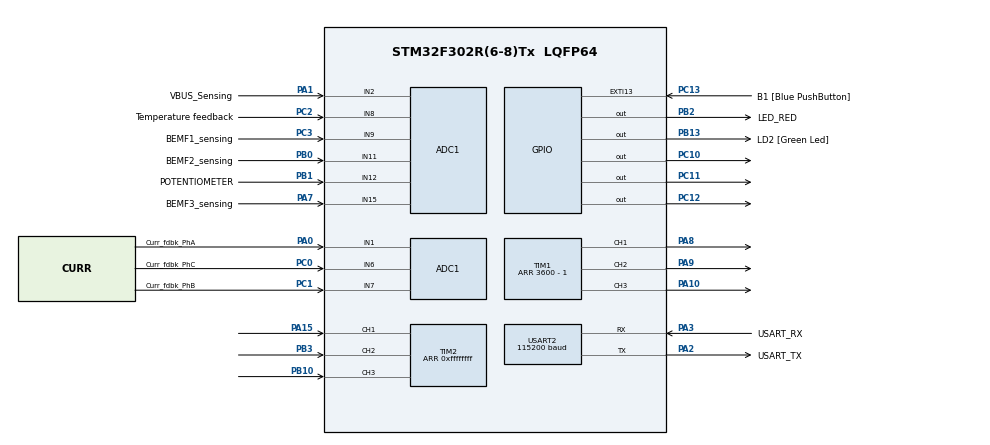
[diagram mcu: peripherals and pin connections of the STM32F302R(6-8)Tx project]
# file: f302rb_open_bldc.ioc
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ADC1.Channel-1\#ChannelRegularConversion=ADC_CHANNEL_VREFINT
ADC1.Channel-14\#ChannelRegularConversion=ADC_CHANNEL_TEMPSENSOR
ADC1.Channel-15\#ChannelRegularConversion=ADC_CHANNEL_2
ADC1.Channel-16\#ChannelRegularConversion=ADC_CHANNEL_8
ADC1.EnableAnalogWatchDog3=false
ADC1.ExternalTrigConv=ADC_EXTERNALTRIGCONV_T1_TRGO
ADC1.ExternalTrigInjecConv=ADC_EXTERNALTRIGINJECCONV_T1_TRGO
ADC1.InjNumberOfConversion=3
ADC1.InjectedChannel-11\#ChannelInjectedConversion=ADC_CHANNEL_1
ADC1.InjectedChannel-12\#ChannelInjectedConversion=ADC_CHANNEL_7
ADC1.InjectedChannel-13\#ChannelInjectedConversion=ADC_CHANNEL_6
ADC1.InjectedOffset-11\#ChannelInjectedConversion=0
ADC1.InjectedOffset-12\#ChannelInjectedConversion=0
ADC1.InjectedOffset-13\#ChannelInjectedConversion=0
ADC1.InjectedOffsetNumber-11\#ChannelInjectedConversion=ADC_OFFSET_NONE
ADC1.InjectedOffsetNumber-12\#ChannelInjectedConversion=ADC_OFFSET_NONE
ADC1.InjectedOffsetNumber-13\#ChannelInjectedConversion=ADC_OFFSET_NONE
ADC1.InjectedRank-11\#ChannelInjectedConversion=1
ADC1.InjectedRank-12\#ChannelInjectedConversion=2
ADC1.InjectedRank-13\#ChannelInjectedConversion=3
ADC1.InjectedSamplingTime-11\#ChannelInjectedConversion=ADC_SAMPLETIME_19CYCLES_5
ADC1.InjectedSamplingTime-12\#ChannelInjectedConversion=ADC_SAMPLETIME_19CYCLES_5
ADC1.InjectedSamplingTime-13\#ChannelInjectedConversion=ADC_SAMPLETIME_19CYCLES_5
ADC1.InjectedSamplingTimeOPAMP-11\#ChannelInjectedConversion=ADC_SAMPLETIME_61CYCLES_5
ADC1.InjectedSamplingTimeOPAMP-12\#ChannelInjectedConversion=ADC_SAMPLETIME_61CYCLES_5
ADC1.InjectedSamplingTimeOPAMP-13\#ChannelInjectedConversion=ADC_SAMPLETIME_61CYCLES_5
ADC1.NbrOfConversion=4
ADC1.NbrOfConversionFlag=1
ADC1.Offset-1\#ChannelRegularConversion=0
ADC1.Offset-14\#ChannelRegularConversion=0
ADC1.Offset-15\#ChannelRegularConversion=0
ADC1.Offset-16\#ChannelRegularConversion=0
ADC1.OffsetNumber-1\#ChannelRegularConversion=ADC_OFFSET_NONE
ADC1.OffsetNumber-14\#ChannelRegularConversion=ADC_OFFSET_NONE
ADC1.OffsetNumber-15\#ChannelRegularConversion=ADC_OFFSET_NONE
ADC1.OffsetNumber-16\#ChannelRegularConversion=ADC_OFFSET_NONE
ADC1.Rank-1\#ChannelRegularConversion=1
ADC1.Rank-14\#ChannelRegularConversion=2
ADC1.Rank-15\#ChannelRegularConversion=3
ADC1.Rank-16\#ChannelRegularConversion=4
ADC1.SamplingTime-1\#ChannelRegularConversion=ADC_SAMPLETIME_181CYCLES_5
ADC1.SamplingTime-14\#ChannelRegularConversion=ADC_SAMPLETIME_181CYCLES_5
ADC1.SamplingTime-15\#ChannelRegularConversion=ADC_SAMPLETIME_19CYCLES_5
ADC1.SamplingTime-16\#ChannelRegularConversion=ADC_SAMPLETIME_19CYCLES_5
ADC1.SequencerNbRanks=4
ADC1.SubFamily=STM32F302x8
ADC1.master=1
Dma.ADC1.0.Direction=DMA_PERIPH_TO_MEMORY
Dma.ADC1.0.Instance=DMA1_Channel1
Dma.ADC1.0.MemDataAlignment=DMA_MDATAALIGN_HALFWORD
Dma.ADC1.0.MemInc=DMA_MINC_ENABLE
Dma.ADC1.0.Mode=DMA_CIRCULAR
Dma.ADC1.0.PeriphDataAlignment=DMA_PDATAALIGN_HALFWORD
Dma.ADC1.0.PeriphInc=DMA_PINC_DISABLE
Dma.ADC1.0.Priority=DMA_PRIORITY_LOW
Dma.Request0=ADC1
Mcu.Family=STM32F3
Mcu.Name=STM32F302R(6-8)Tx
Mcu.Package=LQFP64
NVIC.DMA1_Channel1_IRQn=true\:0\:0\:false\:false\:true\:false\:true
NVIC.EXTI15_10_IRQn=true\:0\:0\:false\:false\:true\:true\:true
NVIC.PriorityGroup=NVIC_PRIORITYGROUP_0
NVIC.TIM1_UP_TIM16_IRQn=true\:0\:0\:false\:false\:true\:true\:true
NVIC.TIM2_IRQn=true\:0\:0\:false\:false\:true\:true\:true
NVIC.TIM6_DAC_IRQn=true\:0\:0\:false\:false\:true\:true\:true
PA0.GPIO_Label=Curr_fdbk_PhA
PA0.Mode=IN1-Single-Ended
PA0.Signal=ADC1_IN1
PA1.GPIO_Label=VBUS_Sensing
PA1.Mode=IN2-Single-Ended
PA1.Signal=ADC1_IN2
PA10.Signal=S_TIM1_CH3
PA13.GPIO_Label=TMS
PA13.Signal=SYS_JTMS-SWDIO
PA14.GPIO_Label=TCK
PA14.Signal=SYS_JTCK-SWCLK
PA15.Signal=S_TIM2_CH1_ETR
PA2.GPIO_Label=USART_TX
PA2.GPIO_Mode=GPIO_MODE_AF_PP
PA2.GPIO_PuPd=GPIO_NOPULL
PA2.GPIO_Speed=GPIO_SPEED_FREQ_LOW
PA2.Mode=Asynchronous
PA2.Signal=USART2_TX
PA3.GPIO_Label=USART_RX
PA3.GPIO_Mode=GPIO_MODE_AF_PP
PA3.GPIO_PuPd=GPIO_NOPULL
PA3.GPIO_Speed=GPIO_SPEED_FREQ_LOW
PA3.Mode=Asynchronous
PA3.Signal=USART2_RX
PA7.GPIO_Label=BEMF3_sensing
PA7.Mode=IN15-Single-Ended
PA7.Signal=ADC1_IN15
PA8.Signal=S_TIM1_CH1
PA9.Signal=S_TIM1_CH2
PB0.GPIO_Label=BEMF2_sensing
PB0.Mode=IN11-Single-Ended
PB0.Signal=ADC1_IN11
PB1.GPIO_Label=POTENTIOMETER
PB1.Mode=IN12-Single-Ended
PB1.Signal=ADC1_IN12
PB10.Signal=S_TIM2_CH3
PB13.GPIO_Label=LD2 [Green Led]
PB13.Signal=GPIO_Output
PB2.GPIO_Label=LED_RED
PB2.Signal=GPIO_Output
PB3.Signal=S_TIM2_CH2
PC0.GPIO_Label=Curr_fdbk_PhC
PC0.Signal=ADCx_IN6
PC1.GPIO_Label=Curr_fdbk_PhB
PC1.Signal=ADCx_IN7
PC10.Signal=GPIO_Output
PC11.Signal=GPIO_Output
PC12.Signal=GPIO_Output
PC13.GPIO_Label=B1 [Blue PushButton]
PC13.GPIO_ModeDefaultEXTI=GPIO_MODE_IT_FALLING
PC13.Signal=GPXTI13
PC14\ -\ OSC32_IN.Mode=LSE-External-Oscillator
PC14\ -\ OSC32_IN.Signal=RCC_OSC32_IN
PC15\ -\ OSC32_OUT.Mode=LSE-External-Oscillator
PC15\ -\ OSC32_OUT.Signal=RCC_OSC32_OUT
PC2.GPIO_Label=Temperature feedback
PC2.Signal=ADCx_IN8
PC3.GPIO_Label=BEMF1_sensing
PC3.Signal=ADCx_IN9
PF0-OSC_IN.Mode=HSE-External-Clock-Source
PF0-OSC_IN.Signal=RCC_OSC_IN
PF1-OSC_OUT.Signal=RCC_OSC_OUT
ProjectManager.HeapSize=0x200
ProjectManager.StackSize=0x400
ProjectManager.TargetToolchain=STM32CubeIDE
RCC.AHBFreq_Value=72000000
RCC.APB1CLKDivider=RCC_HCLK_DIV2
RCC.APB1Freq_Value=36000000
RCC.APB1TimFreq_Value=72000000
RCC.APB2Freq_Value=72000000
RCC.APB2TimFreq_Value=72000000
RCC.CortexFreq_Value=72000000
RCC.HCLKFreq_Value=72000000
RCC.HSE_VALUE=8000000
RCC.HSI_VALUE=8000000
RCC.PLLM=8
RCC.PLLMUL=RCC_PLL_MUL9
RCC.PLLN=336
RCC.PLLP=RCC_PLLP_DIV4
RCC.PLLQ=7
RCC.PLLSourceVirtual=RCC_PLLSOURCE_HSE
RCC.SYSCLKFreq_VALUE=72000000
RCC.SYSCLKSourceVirtual=RCC_SYSCLKSOURCE_PLLCLK
RCC.USBFreq_Value=72000000
SH.ADCx_IN6.0=ADC1_IN6,IN6-Single-Ended
SH.ADCx_IN7.0=ADC1_IN7,IN7-Single-Ended
SH.ADCx_IN8.0=ADC1_IN8,IN8-Single-Ended
SH.ADCx_IN9.0=ADC1_IN9,IN9-Single-Ended
SH.S_TIM1_CH1.0=TIM1_CH1,PWM Generation1 CH1
SH.S_TIM1_CH2.0=TIM1_CH2,PWM Generation2 CH2
SH.S_TIM1_CH3.0=TIM1_CH3,PWM Generation3 CH3
SH.S_TIM2_CH1_ETR.0=TIM2_CH1,Xored_Inputs_Hall_Sensor_Interface
SH.S_TIM2_CH2.0=TIM2_CH2,Xored_Inputs_Hall_Sensor_Interface
SH.S_TIM2_CH3.0=TIM2_CH3,Xored_Inputs_Hall_Sensor_Interface
TIM1.AutoReloadPreload=TIM_AUTORELOAD_PRELOAD_ENABLE
TIM1.Channel-PWM\ Generation1\ CH1=TIM_CHANNEL_1
TIM1.Channel-PWM\ Generation2\ CH2=TIM_CHANNEL_2
TIM1.Channel-PWM\ Generation3\ CH3=TIM_CHANNEL_3
TIM1.CounterMode=TIM_COUNTERMODE_CENTERALIGNED1
TIM1.Period=3600 - 1
TIM1.TIM_MasterOutputTrigger=TIM_TRGO_UPDATE
TIM2.Period=0xffffffff
TIM6.AutoReloadPreload=TIM_AUTORELOAD_PRELOAD_ENABLE
TIM6.Period=1000 - 1
TIM6.Prescaler=72 - 1
USART2.BaudRate=115200
USART2.VirtualMode-Asynchronous=VM_ASYNC
USART2.WordLength=WORDLENGTH_8B
VP_ADC1_TempSens_Input.Mode=IN-TempSens
VP_ADC1_Vref_Input.Mode=IN-Vrefint
VP_TIM1_VS_ClockSourceINT.Mode=Internal
VP_TIM6_VS_ClockSourceINT.Mode=Enable_Timer
board=NUCLEO-F302R8

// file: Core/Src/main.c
/* USER CODE BEGIN Header */
/**
 ******************************************************************************
 * @file           : main.c
 * @brief          : Main program body
 ******************************************************************************
 * @attention
 *
 * <h2><center>&copy; Copyright (c) 2021 STMicroelectronics.
 * All rights reserved.</center></h2>
 *
 * This software component is licensed by ST under BSD 3-Clause license,
 * the "License"; You may not use this file except in compliance with the
 * License. You may obtain a copy of the License at:
 *                        opensource.org/licenses/BSD-3-Clause
 *
 ******************************************************************************
 */
/* USER CODE END Header */
#include "main.h"

/* USER CODE BEGIN Includes */
#include <stdio.h>
#include "math.h"
#include "arm_math.h"
#include "svpwm.h"
/* USER CODE END Includes */

TIM_HandleTypeDef htim1;
TIM_HandleTypeDef htim2;
TIM_HandleTypeDef htim6;

UART_HandleTypeDef huart2;

void SystemClock_Config(void);
static void MX_GPIO_Init(void);
static void MX_DMA_Init(void);
static void MX_USART2_UART_Init(void);
static void MX_ADC1_Init(void);
static void MX_TIM1_Init(void);
static void MX_TIM2_Init(void);
static void MX_TIM6_Init(void);

/* USER CODE BEGIN 0 */

float sinePeriodFiltered = 0;
uint32_t hallCounter = 0;
uint8_t hallCounterChanged = 0;
float theta = 0.0f;  // in rad
float theta_hall = 0.0f;
float gfOmega = 0.0f;  // in rad/s/pi
q31_t gqwOmegaDt = 0;
q31_t gqwTheta = 0;		// electrical angle [-1, 1) is mapped to [-pi, pi) in radian or [-180, 180) in degrees
q31_t gqwThetaHall = 0;
uint8_t hall_pattern = 0x00;
//float theta_at_edge[] = { 0, 2.0 * M_PI / 3.0, M_PI / 3.0, -2.0 * M_PI / 3.0, -M_PI / 3.0, M_PI };
q31_t qwThetaAtEdge[] = { Q31(0.0), Q31(0.0), Q31(2 / 3.0), Q31(1 / 3.0), Q31(-2 / 3.0), Q31(-1 / 3.0), Q31(-1.0) };
uint8_t gaubHallPatternSector[] = {0, 0, 2, 1, 4, 5, 3};
int8_t gabHallDirectionTable[6][6] = {
		{0, 1, 0, 0, 0, -1},
		{-1, 0, 1, 0, 0, 0},
		{0, -1, 0, 1, 0, 0},
		{0, 0, -1, 0, 1, 0},
		{0, 0, 0, -1, 0, 1},
		{1, 0, 0, 0, -1, 0},
};
uint8_t gubHallPatternPrev = 0x00;
uint8_t gubHallPatternCurrent = 0x00;
float k_pll = 0.1;

float adv = M_PI;

#define ADC_CONVERTED_DATA_BUFFER_SIZE   ((uint32_t)   4)
uint16_t aADC1ConvertedData[ADC_CONVERTED_DATA_BUFFER_SIZE];

q31_t gaqwPhaseCurrent[3] = {0, 0, 0};
q31_t gaqwCurrentAB[2] = {0, 0};
q31_t gaqwCurrentDQ[2] = {0, 0};

uint16_t uhVDDA = 0;
uint16_t aAdcOffset[3] = {0,0,0};

char text[256];

/* Variable to report status of DMA transfer of ADC group regular conversions */
/*  0: DMA transfer is not completed                                          */
/*  1: DMA transfer is completed                                              */
/*  2: DMA transfer has not been started yet (initial state)                  */
volatile uint8_t ubAdc1DmaTransferCplt = 0; /* Variable set into DMA interruption callback */

//void HAL_GPIO_EXTI_Callback(uint16_t GPIO_Pin)
//{
//	if(GPIO_Pin == GPIO_PIN_15) { // Hall A
//		if(GPIOA->IDR & GPIO_IDR_15 != GPIO_PIN_RESET){
//			// Pseudo-Sector 0
//			uint32_t now = HAL_GetTick();
//			sinePeriodFiltered = 1.0f / (now - counterU);
//		}
//	}
//}

void prints(const char * const str){
	HAL_UART_Transmit(&huart2, str, strlen(str), 10);
}

uint16_t ADC_Self_Cal_Channel(uint32_t channel) {
	const uint16_t ubPowNbConvSelfCal = 8;
	uint16_t ubConvIdx = 0;
	uint32_t uwAdcAccum = 0;

//	// configure channel
    LL_ADC_REG_SetSequencerLength(ADC1, LL_ADC_REG_SEQ_SCAN_DISABLE);
    LL_ADC_REG_SetSequencerRanks(ADC1, LL_ADC_REG_RANK_1, channel);
    LL_ADC_SetChannelSamplingTime(ADC1, channel, LL_ADC_SAMPLINGTIME_601CYCLES_5);

	ubAdc1DmaTransferCplt = 0;
	for(ubConvIdx = 0; ubConvIdx < (1u << ubPowNbConvSelfCal); ubConvIdx++)
	{
		LL_ADC_REG_StartConversion(ADC1);
		while(ubAdc1DmaTransferCplt == 0) ;
		ubAdc1DmaTransferCplt = 0;
		uwAdcAccum += aADC1ConvertedData[0];
	}
	return uwAdcAccum >> ubPowNbConvSelfCal;
}

void ADC_Self_Cal(void) {
	// disable ADC first to configure
	if(LL_ADC_IsEnabled(ADC1)) {
		LL_ADC_Disable(ADC1);
		while(LL_ADC_IsEnabled(ADC1) != 0) ;
	}

	// configure ADC
    LL_ADC_SetCommonClock(__LL_ADC_COMMON_INSTANCE(ADC1), LL_ADC_CLOCK_SYNC_PCLK_DIV4);
    LL_ADC_SetCommonPathInternalCh(__LL_ADC_COMMON_INSTANCE(ADC1), LL_ADC_PATH_INTERNAL_VREFINT);

	LL_ADC_SetDataAlignment(ADC1, LL_ADC_DATA_ALIGN_RIGHT);			// this line requires ADC disabled
    //LL_ADC_SetResolution(ADC1, LL_ADC_RESOLUTION_12B);
    //LL_ADC_SetLowPowerMode(ADC1, LL_ADC_LP_MODE_NONE);

    LL_ADC_REG_SetTriggerSource(ADC1, LL_ADC_REG_TRIG_SOFTWARE);
    LL_ADC_REG_SetContinuousMode(ADC1, LL_ADC_REG_CONV_SINGLE);
    LL_ADC_REG_SetDMATransfer(ADC1, LL_ADC_REG_DMA_TRANSFER_UNLIMITED);
    LL_ADC_REG_SetOverrun(ADC1, LL_ADC_REG_OVR_DATA_OVERWRITTEN);

    // configure DMA
	LL_DMA_ConfigAddresses(DMA1, LL_DMA_CHANNEL_1,
			LL_ADC_DMA_GetRegAddr(ADC1, LL_ADC_DMA_REG_REGULAR_DATA),
			(uint32_t) &aADC1ConvertedData, LL_DMA_DIRECTION_PERIPH_TO_MEMORY);
	LL_DMA_SetDataLength(DMA1, LL_DMA_CHANNEL_1, 1);
	LL_DMA_EnableIT_TC(DMA1, LL_DMA_CHANNEL_1);
	LL_DMA_EnableIT_TE(DMA1, LL_DMA_CHANNEL_1);
	LL_DMA_EnableChannel(DMA1, LL_DMA_CHANNEL_1);

	LL_ADC_StartCalibration(ADC1, LL_ADC_SINGLE_ENDED);
	while (LL_ADC_IsCalibrationOnGoing(ADC1) != 0)
		; // wait for calibration completion

	LL_ADC_Enable(ADC1);
	while (LL_ADC_IsActiveFlag_ADRDY(ADC1) == 0)
		; // wait until adc is ready

	HAL_Delay(100);

	// Calibrate VDDA
	uhVDDA = __LL_ADC_CALC_VREFANALOG_VOLTAGE(ADC_Self_Cal_Channel(LL_ADC_CHANNEL_VREFINT), LL_ADC_RESOLUTION_12B);
	//uhVDDA = __LL_ADC_CALC_DATA_TO_VOLTAGE(3300, ADC_Self_Cal_Channel(LL_ADC_CHANNEL_VREFINT), LL_ADC_RESOLUTION_12B);
	//uhVDDA = ADC_Self_Cal_Channel(LL_ADC_CHANNEL_VREFINT);

	// Calibrate I_u
    aAdcOffset[0] = ADC_Self_Cal_Channel(LL_ADC_CHANNEL_1);

	// Calibrate I_u
    aAdcOffset[1] = ADC_Self_Cal_Channel(LL_ADC_CHANNEL_7);

	// Calibrate I_u
    aAdcOffset[2] = ADC_Self_Cal_Channel(LL_ADC_CHANNEL_6);
}

void Configure_ADC_Normal(void) {
	// disable ADC first to configure
	if(LL_ADC_IsEnabled(ADC1)) {
		LL_ADC_Disable(ADC1);
		while(LL_ADC_IsEnabled(ADC1) != 0) ;
	}

    LL_ADC_SetCommonClock(__LL_ADC_COMMON_INSTANCE(ADC1), LL_ADC_CLOCK_SYNC_PCLK_DIV1);
	LL_ADC_SetDataAlignment(ADC1, LL_ADC_DATA_ALIGN_LEFT);
    LL_ADC_SetOffset(ADC1, LL_ADC_OFFSET_1, LL_ADC_CHANNEL_1, aAdcOffset[0]);
    LL_ADC_SetOffset(ADC1, LL_ADC_OFFSET_2, LL_ADC_CHANNEL_7, aAdcOffset[1]);
    LL_ADC_SetOffset(ADC1, LL_ADC_OFFSET_3, LL_ADC_CHANNEL_6, aAdcOffset[2]);

    LL_ADC_REG_SetTriggerSource(ADC1, LL_ADC_REG_TRIG_EXT_TIM6_TRGO);
    LL_ADC_REG_SetContinuousMode(ADC1, LL_ADC_REG_CONV_SINGLE);
    LL_ADC_REG_SetDMATransfer(ADC1, LL_ADC_REG_DMA_TRANSFER_UNLIMITED);
    LL_ADC_REG_SetOverrun(ADC1, LL_ADC_REG_OVR_DATA_OVERWRITTEN);

    // configure DMA
	LL_DMA_DisableChannel(DMA1, LL_DMA_CHANNEL_1);
	LL_DMA_ConfigAddresses(DMA1, LL_DMA_CHANNEL_1,
			LL_ADC_DMA_GetRegAddr(ADC1, LL_ADC_DMA_REG_REGULAR_DATA),
			(uint32_t) &aADC1ConvertedData, LL_DMA_DIRECTION_PERIPH_TO_MEMORY);
	LL_DMA_SetDataLength(DMA1, LL_DMA_CHANNEL_1, ADC_CONVERTED_DATA_BUFFER_SIZE);
	LL_DMA_EnableIT_TC(DMA1, LL_DMA_CHANNEL_1);
	LL_DMA_EnableIT_TE(DMA1, LL_DMA_CHANNEL_1);
	LL_DMA_EnableChannel(DMA1, LL_DMA_CHANNEL_1);

	// Enable ADC
	LL_ADC_StartCalibration(ADC1, LL_ADC_SINGLE_ENDED);
	while (LL_ADC_IsCalibrationOnGoing(ADC1) != 0)
		; // wait for calibration completion

	LL_ADC_Enable(ADC1);
	while (LL_ADC_IsActiveFlag_ADRDY(ADC1) == 0)
		; // wait until adc is ready

    LL_ADC_REG_SetSequencerLength(ADC1, LL_ADC_REG_SEQ_SCAN_ENABLE_4RANKS);

    LL_ADC_REG_SetSequencerRanks(ADC1, LL_ADC_REG_RANK_1, LL_ADC_CHANNEL_TEMPSENSOR);
    LL_ADC_REG_SetSequencerRanks(ADC1, LL_ADC_REG_RANK_2, LL_ADC_CHANNEL_8);
    LL_ADC_REG_SetSequencerRanks(ADC1, LL_ADC_REG_RANK_3, LL_ADC_CHANNEL_2);
    LL_ADC_REG_SetSequencerRanks(ADC1, LL_ADC_REG_RANK_4, LL_ADC_CHANNEL_12);

    LL_ADC_SetChannelSamplingTime(ADC1, LL_ADC_CHANNEL_TEMPSENSOR, LL_ADC_SAMPLINGTIME_181CYCLES_5);
    LL_ADC_SetChannelSamplingTime(ADC1, LL_ADC_CHANNEL_8, LL_ADC_SAMPLINGTIME_19CYCLES_5);
    LL_ADC_SetChannelSamplingTime(ADC1, LL_ADC_CHANNEL_2, LL_ADC_SAMPLINGTIME_19CYCLES_5);
    LL_ADC_SetChannelSamplingTime(ADC1, LL_ADC_CHANNEL_12, LL_ADC_SAMPLINGTIME_181CYCLES_5);

    // for injected channels
    LL_ADC_SetChannelSamplingTime(ADC1, LL_ADC_CHANNEL_1, LL_ADC_SAMPLINGTIME_181CYCLES_5);
    LL_ADC_SetChannelSamplingTime(ADC1, LL_ADC_CHANNEL_7, LL_ADC_SAMPLINGTIME_19CYCLES_5);
    LL_ADC_SetChannelSamplingTime(ADC1, LL_ADC_CHANNEL_6, LL_ADC_SAMPLINGTIME_19CYCLES_5);
}

void Configure_DAC(void)
{
	/*## Configuration of GPIO used by DAC channels ############################*/

	/* Enable GPIO Clock */
	LL_AHB1_GRP1_EnableClock(LL_AHB1_GRP1_PERIPH_GPIOA);

	/* Configure GPIO in analog mode to be used as DAC output */
	LL_GPIO_SetPinMode(GPIOA, LL_GPIO_PIN_4, LL_GPIO_MODE_ANALOG);

	/*## Configuration of DAC ##################################################*/

	/* Enable DAC clock */
	LL_APB1_GRP1_EnableClock(LL_APB1_GRP1_PERIPH_DAC1);

	/* Select trigger source */
	LL_DAC_SetTriggerSource(DAC1, LL_DAC_CHANNEL_1, LL_DAC_TRIG_SOFTWARE);

	/* Set the output for the selected DAC channel */
	LL_DAC_SetOutputBuffer(DAC1, LL_DAC_CHANNEL_1, LL_DAC_OUTPUT_BUFFER_ENABLE);

	/* Disable DAC channel DMA request */
	LL_DAC_DisableDMAReq(DAC1, LL_DAC_CHANNEL_1);

	/* Set the data to be loaded in the data holding register */
	LL_DAC_ConvertData12RightAligned(DAC1, LL_DAC_CHANNEL_1, 0x000);

	/* Enable interruption DAC channel1 underrun */
	//LL_DAC_EnableIT_DMAUDR1(DAC1);
}

void Activate_DAC(void)
{
  __IO uint32_t wait_loop_index = 0;

  /* Enable DAC channel */
  LL_DAC_Enable(DAC1, LL_DAC_CHANNEL_1);

  /* Delay for DAC channel voltage settling time from DAC channel startup.    */
  /* Compute number of CPU cycles to wait for, from delay in us.              */
  /* Note: Variable divided by 2 to compensate partially                      */
  /*       CPU processing cycles (depends on compilation optimization).       */
  /* Note: If system core clock frequency is below 200kHz, wait time          */
  /*       is only a few CPU processing cycles.                               */
  wait_loop_index = ((LL_DAC_DELAY_STARTUP_VOLTAGE_SETTLING_US * (SystemCoreClock / (100000 * 2))) / 10);
  while(wait_loop_index != 0)
  {
    wait_loop_index--;
  }
}

void HAL_TIM_IC_CaptureCallback(TIM_HandleTypeDef *htim) {
	if (htim->Instance == TIM2) {
		hallCounter = TIM2->CCR1;
		hallCounterChanged = 1;
		gubHallPatternPrev = gubHallPatternCurrent;
		hall_pattern = ((GPIOA->IDR & GPIO_IDR_15) >> 13)
				| ((GPIOB->IDR & GPIO_IDR_3) >> 2)
				| ((GPIOB->IDR & GPIO_IDR_10) >> 10);
		gubHallPatternCurrent = gaubHallPatternSector[hall_pattern];
		gfOmega = 1.0f / (3 * hallCounter);
		float fOmegaDt = 1e-3 / 3.0f * 72e6 / hallCounter;

		gfOmega *= gabHallDirectionTable[gubHallPatternPrev][gubHallPatternCurrent];
		fOmegaDt *= gabHallDirectionTable[gubHallPatternPrev][gubHallPatternCurrent];

		arm_float_to_q31(&fOmegaDt, &gqwOmegaDt, 1);
		gqwThetaHall = qwThetaAtEdge[hall_pattern];
		//gqwTheta = gqwThetaHall;
	}
}

void HAL_TIM_PeriodElapsedCallback(TIM_HandleTypeDef *htim) {
	if (htim->Instance == TIM1) {
		// do nothing
	} else if (htim->Instance == TIM6) {
		GPIOB->BSRR = GPIO_BSRR_BS_2;
		//q31_t qwOmegaDt = 0;
		//float fOmegaDt = omega / M_PI * 1e-3;
		//arm_float_to_q31(&fOmegaDt, &qwOmegaDt, 1);
		//gqwTheta += gqwOmegaDt;
		//LL_DAC_ConvertData12RightAligned(DAC1, LL_DAC_CHANNEL_1, (gqwTheta >> 20) ^ 0x800);
		//q31_t qwThetaRT = gqwThetaHall + Q31(gfOmega * TIM2->CNT);
		gqwTheta += Q31(0.03f);
		q31_t qwThetaRT = gqwTheta;
		//LL_DAC_ConvertData12RightAligned(DAC1, LL_DAC_CHANNEL_1, (qwThetaRT >> 20) ^ 0x800);

		q31_t qwAdv =  Q31(0.7);
		q31_t qwSines[3];
		q31_t dummy;

		arm_sin_cos_q31(qwThetaRT + qwAdv, &qwSines[0], &dummy);
		arm_sin_cos_q31(qwThetaRT + Q31(2.0f / 3.0f) + qwAdv, &qwSines[1], &dummy);
		arm_sin_cos_q31(qwThetaRT - Q31(2.0f / 3.0f) + qwAdv, &qwSines[2], &dummy);

		//UVW uvw;
		//SVPWM_Calc(gqwTheta, Q31(0.4f), &uvw);

		//LL_DAC_ConvertData12RightAligned(DAC1, LL_DAC_CHANNEL_1, (qwSines[0] >> 20) ^ 0x800);
		//LL_DAC_ConvertData12RightAligned(DAC1, LL_DAC_CHANNEL_1, (uvw.V >> 20) ^ 0x800);

		if (HAL_GPIO_ReadPin(GPIOC, GPIO_PIN_13) != GPIO_PIN_RESET) {
	//			TIM1->CCR1 = 1800.0 * sin(theta + adv);
	//			TIM1->CCR2 = 1800.0 * sin(theta + 2.0 * M_PI / 3.0 + adv);
	//			TIM1->CCR3 = 1800.0 * sin(theta - 2.0 * M_PI / 3.0 + adv);
			TIM1->CCR1 = 500.0 + (int32_t)qwSines[0] * (100.0/0x80000000);
			TIM1->CCR2 = 500.0 + (int32_t)qwSines[1] * (100.0/0x80000000);
			TIM1->CCR3 = 500.0 + (int32_t)qwSines[2] * (100.0/0x80000000);
			//TIM1->CCR1 = (int32_t)(uvw.U) * (1000.0/0x80000000);
			//TIM1->CCR2 = (int32_t)(uvw.V) * (1000.0/0x80000000);
			//TIM1->CCR3 = (int32_t)(uvw.W) * (1000.0/0x80000000);
		}
		GPIOB->BSRR = GPIO_BSRR_BR_2;
	}
}

void Adc1DmaTransferComplete_Callback(void) {
	ubAdc1DmaTransferCplt = 1;
}

void Adc1InjConvComplete_Callback(void) {
//	qwPhaseCurrent[0] = (uint32_t)(ADC1->JDR1) << 16;
//	qwPhaseCurrent[1] = ADC1->JDR2 << 16;
//	qwPhaseCurrent[2] = ADC1->JDR3 << 16;

	gaqwPhaseCurrent[0] = ADC1->JDR1 << 16;
	gaqwPhaseCurrent[1] = ADC1->JDR2 << 16;
	//LL_DAC_ConvertData12RightAligned(DAC1, LL_DAC_CHANNEL_1, ((int32_t)(gaqwPhaseCurrent[0]) >> 20) ^ 0x800);

	//q31_t qwThetaRT = gqwThetaHall + Q31(gfOmega * TIM2->CNT);

	q31_t qwSin, qwCos;
	arm_sin_cos_q31(gqwTheta, &qwSin, &qwCos);
	arm_clarke_q31(gaqwPhaseCurrent[0], gaqwPhaseCurrent[1], &gaqwCurrentAB[0], &gaqwCurrentAB[1]);
	arm_park_q31(gaqwCurrentAB[1], gaqwCurrentAB[0], &gaqwCurrentDQ[0], &gaqwCurrentDQ[1], qwSin, qwCos);

	//LL_DAC_ConvertData12RightAligned(DAC1, LL_DAC_CHANNEL_1, ((int32_t)(gaqwCurrentAB[1]) >> 20) ^ 0x800);
	LL_DAC_ConvertData12RightAligned(DAC1, LL_DAC_CHANNEL_1, ((int32_t)(gaqwCurrentDQ[1]) >> 20) ^ 0x800);
}

/* USER CODE END 0 */

int main(void) {

	/* MCU Configuration--------------------------------------------------------*/

	/* Reset of all peripherals, Initializes the Flash interface and the Systick. */
	HAL_Init();

	/* Configure the system clock */
	SystemClock_Config();

	/* Initialize all configured peripherals */
	MX_GPIO_Init();
	MX_DMA_Init();
	MX_USART2_UART_Init();
	MX_ADC1_Init();
	MX_TIM1_Init();
	MX_TIM2_Init();
	MX_TIM6_Init();
	/* USER CODE BEGIN 2 */

	Configure_DAC();
	Activate_DAC();

	prints("Starting Self-Cal...");

	ADC_Self_Cal();

	sprintf(&text, "done. VDDA: %04d; offsets: %04d, %04d, %04d.\r\n", uhVDDA, (short)aAdcOffset[0], (short)aAdcOffset[1], (short)aAdcOffset[2]);
	prints(&text);

	HAL_TIMEx_HallSensor_Start_IT(&htim2);

	HAL_GPIO_WritePin(GPIOC, GPIO_PIN_10, GPIO_PIN_SET);
	HAL_GPIO_WritePin(GPIOC, GPIO_PIN_11, GPIO_PIN_SET);
	HAL_GPIO_WritePin(GPIOC, GPIO_PIN_12, GPIO_PIN_SET);

	TIM1->CCR1 = 0;
	TIM1->CCR2 = 0;
	TIM1->CCR3 = 0;

	HAL_TIM_PWM_Start(&htim1, TIM_CHANNEL_1);
	HAL_TIM_PWM_Start(&htim1, TIM_CHANNEL_2);
	HAL_TIM_PWM_Start(&htim1, TIM_CHANNEL_3);
	TIM1->CCR4 = 995;

	HAL_TIM_Base_Start_IT(&htim6);

	Configure_ADC_Normal();
	//LL_ADC_REG_StartConversion(ADC1);
	LL_ADC_INJ_StartConversion(ADC1);

	/* USER CODE END 2 */

	/* Infinite loop */
	while (1) {

		/* USER CODE BEGIN 3 */

		uint32_t startDelay = 5;
		uint32_t startDuty = 3000;

		//LL_ADC_REG_StartConversion(ADC1);

		//while(LL_ADC_REG_IsConversionOngoing(ADC1) != 0) ; // wait for conversion

		//while (ubAdc1DmaTransferCplt != 1)
		//	;

		//uint16_t result = __LL_ADC_CALC_DATA_TO_VOLTAGE(3300,
		//		aADC1ConvertedData[0], LL_ADC_RESOLUTION_12B);

		ubAdc1DmaTransferCplt = 0;

		//if (hallCounterChanged != 0) {
		//	uint32_t h = TIM2->CCR1;

		//i = sprintf(&text, "%04d, %04d, %04d\r\n", i_u, i_v, i_w);
		//	sprintf(&text, "%d\r\n", hall_pattern);
		//HAL_UART_Transmit(&huart2, text, i, 10);
		//float fPhaseCurrent[3] = {0.0f, 0.0f, 0.0f};
		//arm_q31_to_float(gaqwPhaseCurrent, fPhaseCurrent, 3);
		sprintf(&text, "%07.4f, %07.3f, %07.3f, %07.3f\r\n", Q31_TO_F(gqwOmegaDt),
				Q31_TO_F(gaqwPhaseCurrent[0])*19.83471074380165,
				Q31_TO_F(gaqwPhaseCurrent[1])*19.83471074380165,
				Q31_TO_F(gaqwPhaseCurrent[2])*19.83471074380165);
		prints(&text);
		//	sprintf(&text, "%d\r\n", hall_pattern);
		//prints(&text);
		//	hallCounterChanged = 0;
		//}
		HAL_Delay(1);

		while (HAL_GPIO_ReadPin(GPIOC, GPIO_PIN_13) == GPIO_PIN_RESET) {
			HAL_GPIO_WritePin(GPIOB, GPIO_PIN_2, GPIO_PIN_SET);
			HAL_GPIO_WritePin(GPIOC, GPIO_PIN_10, GPIO_PIN_SET);
			HAL_GPIO_WritePin(GPIOC, GPIO_PIN_11, GPIO_PIN_SET);
			HAL_GPIO_WritePin(GPIOC, GPIO_PIN_12, GPIO_PIN_RESET);
			TIM1->CCR1 = startDuty;
			TIM1->CCR2 = 0;
			TIM1->CCR3 = 0;
			HAL_Delay(startDelay);
			sprintf(&text, "A->B: %1d\r\n", hall_pattern);
			HAL_UART_Transmit(&huart2, text, 10, 10);
			HAL_GPIO_WritePin(GPIOC, GPIO_PIN_10, GPIO_PIN_SET);
			HAL_GPIO_WritePin(GPIOC, GPIO_PIN_11, GPIO_PIN_RESET);
			HAL_GPIO_WritePin(GPIOC, GPIO_PIN_12, GPIO_PIN_SET);
			HAL_Delay(startDelay);
			sprintf(&text, "A->C: %1d\r\n", hall_pattern);
			HAL_UART_Transmit(&huart2, text, 10, 10);
			HAL_GPIO_WritePin(GPIOB, GPIO_PIN_2, GPIO_PIN_RESET);
			HAL_GPIO_WritePin(GPIOC, GPIO_PIN_10, GPIO_PIN_RESET);
			HAL_GPIO_WritePin(GPIOC, GPIO_PIN_11, GPIO_PIN_SET);
			HAL_GPIO_WritePin(GPIOC, GPIO_PIN_12, GPIO_PIN_SET);
			TIM1->CCR1 = 0;
			TIM1->CCR2 = startDuty;
			TIM1->CCR3 = 0;
			HAL_Delay(startDelay);
			sprintf(&text, "B->C: %1d\r\n", hall_pattern);
			HAL_UART_Transmit(&huart2, text, 10, 10);
			HAL_GPIO_WritePin(GPIOC, GPIO_PIN_10, GPIO_PIN_SET);
			HAL_GPIO_WritePin(GPIOC, GPIO_PIN_11, GPIO_PIN_SET);
			HAL_GPIO_WritePin(GPIOC, GPIO_PIN_12, GPIO_PIN_RESET);
			HAL_Delay(startDelay);
			sprintf(&text, "B->A: %1d\r\n", hall_pattern);
			HAL_UART_Transmit(&huart2, text, 10, 10);
			HAL_GPIO_WritePin(GPIOC, GPIO_PIN_10, GPIO_PIN_SET);
			HAL_GPIO_WritePin(GPIOC, GPIO_PIN_11, GPIO_PIN_RESET);
			HAL_GPIO_WritePin(GPIOC, GPIO_PIN_12, GPIO_PIN_SET);
			TIM1->CCR1 = 0;
			TIM1->CCR2 = 0;
			TIM1->CCR3 = startDuty;
			HAL_Delay(startDelay);
			sprintf(&text, "C->A: %1d\r\n", hall_pattern);
			HAL_UART_Transmit(&huart2, text, 10, 10);
			HAL_GPIO_WritePin(GPIOC, GPIO_PIN_10, GPIO_PIN_RESET);
			HAL_GPIO_WritePin(GPIOC, GPIO_PIN_11, GPIO_PIN_SET);
			HAL_GPIO_WritePin(GPIOC, GPIO_PIN_12, GPIO_PIN_SET);
			HAL_Delay(startDelay);
			sprintf(&text, "C->B: %1d\r\n", hall_pattern);
			HAL_UART_Transmit(&huart2, text, 10, 10);
		}
	}
	/* USER CODE END 3 */
}

void SystemClock_Config(void) {
	LL_FLASH_SetLatency(LL_FLASH_LATENCY_2);
	while (LL_FLASH_GetLatency() != LL_FLASH_LATENCY_2) {
	}
	LL_RCC_HSE_EnableBypass();
	LL_RCC_HSE_Enable();

	/* Wait till HSE is ready */
	while (LL_RCC_HSE_IsReady() != 1) {

	}
	LL_RCC_PLL_ConfigDomain_SYS(LL_RCC_PLLSOURCE_HSE_DIV_1, LL_RCC_PLL_MUL_9);
	LL_RCC_PLL_Enable();

	/* Wait till PLL is ready */
	while (LL_RCC_PLL_IsReady() != 1) {

	}
	LL_RCC_SetAHBPrescaler(LL_RCC_SYSCLK_DIV_1);
	LL_RCC_SetAPB1Prescaler(LL_RCC_APB1_DIV_2);
	LL_RCC_SetAPB2Prescaler(LL_RCC_APB1_DIV_1);
	LL_RCC_SetSysClkSource(LL_RCC_SYS_CLKSOURCE_PLL);

	/* Wait till System clock is ready */
	while (LL_RCC_GetSysClkSource() != LL_RCC_SYS_CLKSOURCE_STATUS_PLL) {

	}
	LL_SetSystemCoreClock(72000000);

	/* Update the time base */
	if (HAL_InitTick(TICK_INT_PRIORITY) != HAL_OK) {
		Error_Handler();
	}
	LL_RCC_SetTIMClockSource(LL_RCC_TIM1_CLKSOURCE_PCLK2);
	LL_RCC_SetADCClockSource(LL_RCC_ADC1_CLKSRC_PLL_DIV_1);
}

static void MX_ADC1_Init(void) {

	/* USER CODE BEGIN ADC1_Init 0 */

	NVIC_SetPriority(ADC1_IRQn,
			NVIC_EncodePriority(NVIC_GetPriorityGrouping(), 0, 0));
	NVIC_EnableIRQ(ADC1_IRQn);

	/* USER CODE END ADC1_Init 0 */

	LL_ADC_InitTypeDef ADC_InitStruct = { 0 };
	LL_ADC_REG_InitTypeDef ADC_REG_InitStruct = { 0 };
	LL_ADC_CommonInitTypeDef ADC_CommonInitStruct = { 0 };

	LL_GPIO_InitTypeDef GPIO_InitStruct = { 0 };

	/* Peripheral clock enable */
	LL_AHB1_GRP1_EnableClock(LL_AHB1_GRP1_PERIPH_ADC1);

	LL_AHB1_GRP1_EnableClock(LL_AHB1_GRP1_PERIPH_GPIOC);
	LL_AHB1_GRP1_EnableClock(LL_AHB1_GRP1_PERIPH_GPIOA);
	LL_AHB1_GRP1_EnableClock(LL_AHB1_GRP1_PERIPH_GPIOB);
	/**ADC1 GPIO Configuration
	 PC0   ------> ADC1_IN6
	 PC1   ------> ADC1_IN7
	 PC2   ------> ADC1_IN8
	 PC3   ------> ADC1_IN9
	 PA0   ------> ADC1_IN1
	 PA1   ------> ADC1_IN2
	 PA7   ------> ADC1_IN15
	 PB0   ------> ADC1_IN11
	 PB1   ------> ADC1_IN12
	 */
	GPIO_InitStruct.Pin = LL_GPIO_PIN_0 | LL_GPIO_PIN_1 | LL_GPIO_PIN_2
			| LL_GPIO_PIN_3;
	GPIO_InitStruct.Mode = LL_GPIO_MODE_ANALOG;
	GPIO_InitStruct.Pull = LL_GPIO_PULL_NO;
	LL_GPIO_Init(GPIOC, &GPIO_InitStruct);

	GPIO_InitStruct.Pin = LL_GPIO_PIN_0 | LL_GPIO_PIN_1 | LL_GPIO_PIN_7;
	GPIO_InitStruct.Mode = LL_GPIO_MODE_ANALOG;
	GPIO_InitStruct.Pull = LL_GPIO_PULL_NO;
	LL_GPIO_Init(GPIOA, &GPIO_InitStruct);

	GPIO_InitStruct.Pin = LL_GPIO_PIN_0 | LL_GPIO_PIN_1;
	GPIO_InitStruct.Mode = LL_GPIO_MODE_ANALOG;
	GPIO_InitStruct.Pull = LL_GPIO_PULL_NO;
	LL_GPIO_Init(GPIOB, &GPIO_InitStruct);

	/* ADC1 DMA Init */

	/* ADC1 Init */
	LL_DMA_SetDataTransferDirection(DMA1, LL_DMA_CHANNEL_1,
			LL_DMA_DIRECTION_PERIPH_TO_MEMORY);

	LL_DMA_SetChannelPriorityLevel(DMA1, LL_DMA_CHANNEL_1, LL_DMA_PRIORITY_HIGH);

	LL_DMA_SetMode(DMA1, LL_DMA_CHANNEL_1, LL_DMA_MODE_CIRCULAR);

	LL_DMA_SetPeriphIncMode(DMA1, LL_DMA_CHANNEL_1, LL_DMA_PERIPH_NOINCREMENT);

	LL_DMA_SetMemoryIncMode(DMA1, LL_DMA_CHANNEL_1, LL_DMA_MEMORY_INCREMENT);

	LL_DMA_SetPeriphSize(DMA1, LL_DMA_CHANNEL_1, LL_DMA_PDATAALIGN_HALFWORD);

	LL_DMA_SetMemorySize(DMA1, LL_DMA_CHANNEL_1, LL_DMA_MDATAALIGN_HALFWORD);

	/** Common config
	 */
	ADC_InitStruct.Resolution = LL_ADC_RESOLUTION_12B;
	ADC_InitStruct.DataAlignment = LL_ADC_DATA_ALIGN_RIGHT;
	ADC_InitStruct.LowPowerMode = LL_ADC_LP_MODE_NONE;
	LL_ADC_Init(ADC1, &ADC_InitStruct);
	ADC_REG_InitStruct.TriggerSource = LL_ADC_REG_TRIG_EXT_TIM6_TRGO;
	ADC_REG_InitStruct.SequencerLength = LL_ADC_REG_SEQ_SCAN_ENABLE_4RANKS;
	ADC_REG_InitStruct.SequencerDiscont = LL_ADC_REG_SEQ_DISCONT_DISABLE;
	ADC_REG_InitStruct.ContinuousMode = LL_ADC_REG_CONV_SINGLE;
	ADC_REG_InitStruct.DMATransfer = LL_ADC_REG_DMA_TRANSFER_UNLIMITED;
	ADC_REG_InitStruct.Overrun = LL_ADC_REG_OVR_DATA_OVERWRITTEN;
	LL_ADC_REG_Init(ADC1, &ADC_REG_InitStruct);
	ADC_CommonInitStruct.CommonClock = LL_ADC_CLOCK_ASYNC_DIV1;
	LL_ADC_CommonInit(__LL_ADC_COMMON_INSTANCE(ADC1), &ADC_CommonInitStruct);
	LL_ADC_REG_SetTriggerEdge(ADC1, LL_ADC_REG_TRIG_EXT_RISING);

	/* Enable ADC internal voltage regulator */
	LL_ADC_EnableInternalRegulator(ADC1);
	/* Delay for ADC internal voltage regulator stabilization. */
	/* Compute number of CPU cycles to wait for, from delay in us. */
	/* Note: Variable divided by 2 to compensate partially */
	/* CPU processing cycles (depends on compilation optimization). */
	/* Note: If system core clock frequency is below 200kHz, wait time */
	/* is only a few CPU processing cycles. */
	uint32_t wait_loop_index;
	wait_loop_index = ((LL_ADC_DELAY_INTERNAL_REGUL_STAB_US
			* (SystemCoreClock / (100000 * 2))) / 10);
	while (wait_loop_index != 0) {
		wait_loop_index--;
	}
	/** Configure injected channel ADC_JSQR register
	 */
	LL_ADC_INJ_ConfigQueueContext(ADC1, LL_ADC_INJ_TRIG_EXT_TIM1_TRGO2,
			LL_ADC_INJ_TRIG_EXT_RISING, LL_ADC_INJ_SEQ_SCAN_ENABLE_2RANKS,
			LL_ADC_CHANNEL_7, LL_ADC_CHANNEL_6, 0x0000, 0x0000);
	LL_ADC_INJ_SetTrigAuto(ADC1, LL_ADC_INJ_TRIG_INDEPENDENT);
	LL_ADC_INJ_SetSequencerDiscont(ADC1, LL_ADC_INJ_SEQ_DISCONT_DISABLE);
	/** Configure Regular Channel
	 */
	LL_ADC_REG_SetSequencerRanks(ADC1, LL_ADC_REG_RANK_1,
			LL_ADC_CHANNEL_VREFINT);
	LL_ADC_SetChannelSamplingTime(ADC1, LL_ADC_CHANNEL_VREFINT,
			LL_ADC_SAMPLINGTIME_181CYCLES_5);
	LL_ADC_SetChannelSingleDiff(ADC1, LL_ADC_CHANNEL_VREFINT,
			LL_ADC_SINGLE_ENDED);
	LL_ADC_SetCommonPathInternalCh(__LL_ADC_COMMON_INSTANCE(ADC1),
			LL_ADC_PATH_INTERNAL_VREFINT);
	/** Configure Injected Channel
	 */
	LL_ADC_INJ_SetQueueMode(ADC1, LL_ADC_INJ_QUEUE_2CONTEXTS_LAST_ACTIVE);
	LL_ADC_DisableIT_JEOC(ADC1);
	LL_ADC_DisableIT_JEOS(ADC1);
	LL_ADC_SetChannelSamplingTime(ADC1, LL_ADC_CHANNEL_1,
			LL_ADC_SAMPLINGTIME_19CYCLES_5);
	LL_ADC_SetChannelSingleDiff(ADC1, LL_ADC_CHANNEL_1, LL_ADC_SINGLE_ENDED);
	LL_ADC_INJ_SetTriggerEdge(ADC1, LL_ADC_INJ_TRIG_EXT_RISING);
	/** Configure Injected Channel
	 */
	LL_ADC_INJ_SetQueueMode(ADC1, LL_ADC_INJ_QUEUE_2CONTEXTS_LAST_ACTIVE);
	LL_ADC_DisableIT_JEOC(ADC1);
	LL_ADC_DisableIT_JEOS(ADC1);
	LL_ADC_SetChannelSamplingTime(ADC1, LL_ADC_CHANNEL_7,
			LL_ADC_SAMPLINGTIME_19CYCLES_5);
	LL_ADC_SetChannelSingleDiff(ADC1, LL_ADC_CHANNEL_7, LL_ADC_SINGLE_ENDED);
	LL_ADC_INJ_SetTriggerEdge(ADC1, LL_ADC_INJ_TRIG_EXT_RISING);
	/** Configure Injected Channel
	 */
	LL_ADC_INJ_SetQueueMode(ADC1, LL_ADC_INJ_QUEUE_2CONTEXTS_LAST_ACTIVE);
	LL_ADC_DisableIT_JEOC(ADC1);
	LL_ADC_DisableIT_JEOS(ADC1);
	LL_ADC_SetChannelSamplingTime(ADC1, LL_ADC_CHANNEL_6,
			LL_ADC_SAMPLINGTIME_19CYCLES_5);
	LL_ADC_SetChannelSingleDiff(ADC1, LL_ADC_CHANNEL_6, LL_ADC_SINGLE_ENDED);
	LL_ADC_INJ_SetTriggerEdge(ADC1, LL_ADC_INJ_TRIG_EXT_RISING);
	/** Configure Regular Channel
	 */
	LL_ADC_REG_SetSequencerRanks(ADC1, LL_ADC_REG_RANK_2,
			LL_ADC_CHANNEL_TEMPSENSOR);
	LL_ADC_SetChannelSamplingTime(ADC1, LL_ADC_CHANNEL_TEMPSENSOR,
			LL_ADC_SAMPLINGTIME_181CYCLES_5);
	LL_ADC_SetChannelSingleDiff(ADC1, LL_ADC_CHANNEL_TEMPSENSOR,
			LL_ADC_SINGLE_ENDED);
	LL_ADC_SetCommonPathInternalCh(__LL_ADC_COMMON_INSTANCE(ADC1),
			LL_ADC_PATH_INTERNAL_TEMPSENSOR);
	/** Configure Regular Channel
	 */
	LL_ADC_REG_SetSequencerRanks(ADC1, LL_ADC_REG_RANK_3, LL_ADC_CHANNEL_2);
	LL_ADC_SetChannelSamplingTime(ADC1, LL_ADC_CHANNEL_2,
			LL_ADC_SAMPLINGTIME_19CYCLES_5);
	LL_ADC_SetChannelSingleDiff(ADC1, LL_ADC_CHANNEL_2, LL_ADC_SINGLE_ENDED);
	/** Configure Regular Channel
	 */
	LL_ADC_REG_SetSequencerRanks(ADC1, LL_ADC_REG_RANK_4, LL_ADC_CHANNEL_8);
	LL_ADC_SetChannelSamplingTime(ADC1, LL_ADC_CHANNEL_8,
			LL_ADC_SAMPLINGTIME_19CYCLES_5);
	LL_ADC_SetChannelSingleDiff(ADC1, LL_ADC_CHANNEL_8, LL_ADC_SINGLE_ENDED);
	/* USER CODE BEGIN ADC1_Init 2 */

	LL_ADC_DisableIT_JEOC(ADC1);
	LL_ADC_EnableIT_JEOS(ADC1);

	LL_ADC_SetChannelSamplingTime(ADC1, LL_ADC_CHANNEL_1, LL_ADC_SAMPLINGTIME_601CYCLES_5);
	LL_ADC_SetChannelSamplingTime(ADC1, LL_ADC_CHANNEL_7, LL_ADC_SAMPLINGTIME_181CYCLES_5);
	LL_ADC_SetChannelSamplingTime(ADC1, LL_ADC_CHANNEL_6, LL_ADC_SAMPLINGTIME_181CYCLES_5);

    LL_ADC_REG_SetSequencerLength(ADC1, LL_ADC_REG_SEQ_SCAN_DISABLE);
    LL_ADC_REG_SetSequencerRanks(ADC1, LL_ADC_REG_RANK_1, LL_ADC_CHANNEL_VREFINT);
    LL_ADC_SetChannelSamplingTime(ADC1, LL_ADC_CHANNEL_VREFINT, LL_ADC_SAMPLINGTIME_19CYCLES_5);
//
//  LL_ADC_REG_SetSequencerRanks(ADC1, LL_ADC_REG_RANK_2, LL_ADC_CHANNEL_12);
//  LL_ADC_SetChannelSamplingTime(ADC1, LL_ADC_CHANNEL_12, LL_ADC_SAMPLINGTIME_19CYCLES_5);
//  LL_ADC_SetChannelSingleDiff(ADC1, LL_ADC_CHANNEL_12, LL_ADC_SINGLE_ENDED);
//
//  LL_ADC_REG_SetSequencerRanks(ADC1, LL_ADC_REG_RANK_3, LL_ADC_CHANNEL_TEMPSENSOR);
//  LL_ADC_SetChannelSamplingTime(ADC1, LL_ADC_CHANNEL_TEMPSENSOR, LL_ADC_SAMPLINGTIME_181CYCLES_5);
//  LL_ADC_SetChannelSingleDiff(ADC1, LL_ADC_CHANNEL_TEMPSENSOR, LL_ADC_SINGLE_ENDED);
//
//  LL_ADC_REG_SetSequencerRanks(ADC1, LL_ADC_REG_RANK_4, LL_ADC_CHANNEL_VREFINT);
//  LL_ADC_SetChannelSamplingTime(ADC1, LL_ADC_CHANNEL_VREFINT, LL_ADC_SAMPLINGTIME_181CYCLES_5);
//  LL_ADC_SetChannelSingleDiff(ADC1, LL_ADC_CHANNEL_VREFINT, LL_ADC_SINGLE_ENDED);
	/* USER CODE END ADC1_Init 2 */

}

static void MX_TIM1_Init(void) {

	TIM_ClockConfigTypeDef sClockSourceConfig = { 0 };
	TIM_MasterConfigTypeDef sMasterConfig = { 0 };
	TIM_OC_InitTypeDef sConfigOC = { 0 };
	TIM_BreakDeadTimeConfigTypeDef sBreakDeadTimeConfig = { 0 };

	htim1.Instance = TIM1;
	htim1.Init.Prescaler = 0;
	htim1.Init.CounterMode = TIM_COUNTERMODE_CENTERALIGNED1;
	htim1.Init.Period = 1000 - 1;
	htim1.Init.ClockDivision = TIM_CLOCKDIVISION_DIV1;
	htim1.Init.RepetitionCounter = 0;
	htim1.Init.AutoReloadPreload = TIM_AUTORELOAD_PRELOAD_ENABLE;
	if (HAL_TIM_Base_Init(&htim1) != HAL_OK) {
		Error_Handler();
	}
	sClockSourceConfig.ClockSource = TIM_CLOCKSOURCE_INTERNAL;
	if (HAL_TIM_ConfigClockSource(&htim1, &sClockSourceConfig) != HAL_OK) {
		Error_Handler();
	}
	if (HAL_TIM_PWM_Init(&htim1) != HAL_OK) {
		Error_Handler();
	}
	sMasterConfig.MasterOutputTrigger = TIM_TRGO_UPDATE;
	sMasterConfig.MasterOutputTrigger2 = TIM_TRGO2_OC4REF;
	sMasterConfig.MasterSlaveMode = TIM_MASTERSLAVEMODE_DISABLE;
	if (HAL_TIMEx_MasterConfigSynchronization(&htim1, &sMasterConfig)
			!= HAL_OK) {
		Error_Handler();
	}
	sConfigOC.OCMode = TIM_OCMODE_PWM1;
	sConfigOC.Pulse = 0;
	sConfigOC.OCPolarity = TIM_OCPOLARITY_HIGH;
	sConfigOC.OCNPolarity = TIM_OCNPOLARITY_HIGH;
	sConfigOC.OCFastMode = TIM_OCFAST_DISABLE;
	sConfigOC.OCIdleState = TIM_OCIDLESTATE_RESET;
	sConfigOC.OCNIdleState = TIM_OCNIDLESTATE_RESET;
	if (HAL_TIM_PWM_ConfigChannel(&htim1, &sConfigOC, TIM_CHANNEL_1)
			!= HAL_OK) {
		Error_Handler();
	}
	if (HAL_TIM_PWM_ConfigChannel(&htim1, &sConfigOC, TIM_CHANNEL_2)
			!= HAL_OK) {
		Error_Handler();
	}
	if (HAL_TIM_PWM_ConfigChannel(&htim1, &sConfigOC, TIM_CHANNEL_3)
			!= HAL_OK) {
		Error_Handler();
	}
	sConfigOC.OCMode = TIM_OCMODE_PWM2;
	if (HAL_TIM_PWM_ConfigChannel(&htim1, &sConfigOC, TIM_CHANNEL_4)
			!= HAL_OK) {
		Error_Handler();
	}
	sBreakDeadTimeConfig.OffStateRunMode = TIM_OSSR_DISABLE;
	sBreakDeadTimeConfig.OffStateIDLEMode = TIM_OSSI_DISABLE;
	sBreakDeadTimeConfig.LockLevel = TIM_LOCKLEVEL_OFF;
	sBreakDeadTimeConfig.DeadTime = 0;
	sBreakDeadTimeConfig.BreakState = TIM_BREAK_DISABLE;
	sBreakDeadTimeConfig.BreakPolarity = TIM_BREAKPOLARITY_HIGH;
	sBreakDeadTimeConfig.BreakFilter = 0;
	sBreakDeadTimeConfig.Break2State = TIM_BREAK2_DISABLE;
	sBreakDeadTimeConfig.Break2Polarity = TIM_BREAK2POLARITY_HIGH;
	sBreakDeadTimeConfig.Break2Filter = 0;
	sBreakDeadTimeConfig.AutomaticOutput = TIM_AUTOMATICOUTPUT_DISABLE;
	if (HAL_TIMEx_ConfigBreakDeadTime(&htim1, &sBreakDeadTimeConfig)
			!= HAL_OK) {
		Error_Handler();
	}
	HAL_TIM_MspPostInit(&htim1);

}

static void MX_TIM2_Init(void) {

	TIM_HallSensor_InitTypeDef sConfig = { 0 };
	TIM_MasterConfigTypeDef sMasterConfig = { 0 };

	htim2.Instance = TIM2;
	htim2.Init.Prescaler = 0;
	htim2.Init.CounterMode = TIM_COUNTERMODE_UP;
	htim2.Init.Period = 0xffffffff;
	htim2.Init.ClockDivision = TIM_CLOCKDIVISION_DIV1;
	htim2.Init.AutoReloadPreload = TIM_AUTORELOAD_PRELOAD_DISABLE;
	sConfig.IC1Polarity = TIM_ICPOLARITY_RISING;
	sConfig.IC1Prescaler = TIM_ICPSC_DIV1;
	sConfig.IC1Filter = 0;
	sConfig.Commutation_Delay = 0;
	if (HAL_TIMEx_HallSensor_Init(&htim2, &sConfig) != HAL_OK) {
		Error_Handler();
	}
	sMasterConfig.MasterOutputTrigger = TIM_TRGO_OC2REF;
	sMasterConfig.MasterSlaveMode = TIM_MASTERSLAVEMODE_DISABLE;
	if (HAL_TIMEx_MasterConfigSynchronization(&htim2, &sMasterConfig)
			!= HAL_OK) {
		Error_Handler();
	}

}

static void MX_TIM6_Init(void) {

	TIM_MasterConfigTypeDef sMasterConfig = { 0 };

	htim6.Instance = TIM6;
	htim6.Init.Prescaler = 72 - 1;
	htim6.Init.CounterMode = TIM_COUNTERMODE_UP;
	htim6.Init.Period = 100 - 1;
	htim6.Init.AutoReloadPreload = TIM_AUTORELOAD_PRELOAD_ENABLE;
	if (HAL_TIM_Base_Init(&htim6) != HAL_OK) {
		Error_Handler();
	}
	sMasterConfig.MasterOutputTrigger = TIM_TRGO_UPDATE;
	sMasterConfig.MasterSlaveMode = TIM_MASTERSLAVEMODE_DISABLE;
	if (HAL_TIMEx_MasterConfigSynchronization(&htim6, &sMasterConfig)
			!= HAL_OK) {
		Error_Handler();
	}

}

static void MX_USART2_UART_Init(void) {

	huart2.Instance = USART2;
	huart2.Init.BaudRate = 115200;
	huart2.Init.WordLength = UART_WORDLENGTH_8B;
	huart2.Init.StopBits = UART_STOPBITS_1;
	huart2.Init.Parity = UART_PARITY_NONE;
	huart2.Init.Mode = UART_MODE_TX_RX;
	huart2.Init.HwFlowCtl = UART_HWCONTROL_NONE;
	huart2.Init.OverSampling = UART_OVERSAMPLING_16;
	huart2.Init.OneBitSampling = UART_ONE_BIT_SAMPLE_DISABLE;
	huart2.AdvancedInit.AdvFeatureInit = UART_ADVFEATURE_NO_INIT;
	if (HAL_UART_Init(&huart2) != HAL_OK) {
		Error_Handler();
	}

}

static void MX_DMA_Init(void) {

	/* Init with LL driver */
	/* DMA controller clock enable */
	LL_AHB1_GRP1_EnableClock(LL_AHB1_GRP1_PERIPH_DMA1);

	/* DMA interrupt init */
	/* DMA1_Channel1_IRQn interrupt configuration */
	NVIC_SetPriority(DMA1_Channel1_IRQn,
			NVIC_EncodePriority(NVIC_GetPriorityGrouping(), 1, 0));
	NVIC_EnableIRQ(DMA1_Channel1_IRQn);

}

static void MX_GPIO_Init(void) {
	GPIO_InitTypeDef GPIO_InitStruct = { 0 };

	/* GPIO Ports Clock Enable */
	__HAL_RCC_GPIOC_CLK_ENABLE();
	__HAL_RCC_GPIOF_CLK_ENABLE();
	__HAL_RCC_GPIOA_CLK_ENABLE();
	__HAL_RCC_GPIOB_CLK_ENABLE();

	/*Configure GPIO pin Output Level */
	HAL_GPIO_WritePin(GPIOB, LED_RED_Pin | LD2_Pin, GPIO_PIN_RESET);

	/*Configure GPIO pin Output Level */
	HAL_GPIO_WritePin(GPIOC, GPIO_PIN_10 | GPIO_PIN_11 | GPIO_PIN_12,
			GPIO_PIN_RESET);

	/*Configure GPIO pin : B1_Pin */
	GPIO_InitStruct.Pin = B1_Pin;
	GPIO_InitStruct.Mode = GPIO_MODE_IT_FALLING;
	GPIO_InitStruct.Pull = GPIO_NOPULL;
	HAL_GPIO_Init(B1_GPIO_Port, &GPIO_InitStruct);

	/*Configure GPIO pins : LED_RED_Pin LD2_Pin */
	GPIO_InitStruct.Pin = LED_RED_Pin | LD2_Pin;
	GPIO_InitStruct.Mode = GPIO_MODE_OUTPUT_PP;
	GPIO_InitStruct.Pull = GPIO_NOPULL;
	GPIO_InitStruct.Speed = GPIO_SPEED_FREQ_LOW;
	HAL_GPIO_Init(GPIOB, &GPIO_InitStruct);

	/*Configure GPIO pins : PC10 PC11 PC12 */
	GPIO_InitStruct.Pin = GPIO_PIN_10 | GPIO_PIN_11 | GPIO_PIN_12;
	GPIO_InitStruct.Mode = GPIO_MODE_OUTPUT_PP;
	GPIO_InitStruct.Pull = GPIO_NOPULL;
	GPIO_InitStruct.Speed = GPIO_SPEED_FREQ_LOW;
	HAL_GPIO_Init(GPIOC, &GPIO_InitStruct);

	/* EXTI interrupt init*/
	HAL_NVIC_SetPriority(EXTI15_10_IRQn, 1, 2);
	HAL_NVIC_EnableIRQ(EXTI15_10_IRQn);

}

void Error_Handler(void) {
	__disable_irq();
	while (1) {
	}
}

/************************ (C) COPYRIGHT STMicroelectronics *****END OF FILE****/
